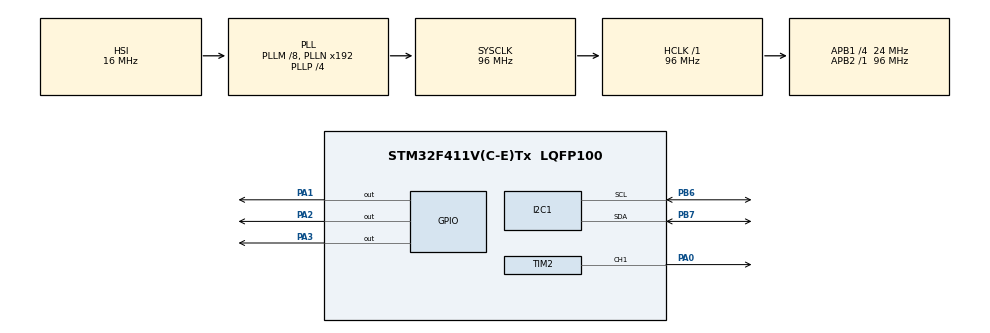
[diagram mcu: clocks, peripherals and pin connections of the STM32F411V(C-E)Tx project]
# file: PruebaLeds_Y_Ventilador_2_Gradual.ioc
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Mcu.Family=STM32F4
Mcu.Name=STM32F411V(C-E)Tx
Mcu.Package=LQFP100
NVIC.PriorityGroup=NVIC_PRIORITYGROUP_0
PA0-WKUP.Signal=S_TIM2_CH1_ETR
PA1.Signal=GPIO_Output
PA2.Signal=GPIO_Output
PA3.Signal=GPIO_Output
PB6.GPIO_Pu=GPIO_PULLUP
PB6.Mode=I2C
PB6.Signal=I2C1_SCL
PB7.GPIO_Pu=GPIO_PULLUP
PB7.Mode=I2C
PB7.Signal=I2C1_SDA
ProjectManager.HeapSize=0x200
ProjectManager.StackSize=0x400
ProjectManager.TargetToolchain=STM32CubeIDE
RCC.48MHZClocksFreq_Value=48000000
RCC.AHBFreq_Value=96000000
RCC.APB1CLKDivider=RCC_HCLK_DIV4
RCC.APB1Freq_Value=24000000
RCC.APB1TimFreq_Value=48000000
RCC.APB2Freq_Value=96000000
RCC.APB2TimFreq_Value=96000000
RCC.CortexFreq_Value=96000000
RCC.HCLKFreq_Value=96000000
RCC.HSE_VALUE=8000000
RCC.HSI_VALUE=16000000
RCC.LSE_VALUE=32768
RCC.PLLI2SM=5
RCC.PLLI2SN=200
RCC.PLLM=8
RCC.PLLP=RCC_PLLP_DIV4
RCC.PLLQ=8
RCC.SYSCLKFreq_VALUE=96000000
RCC.SYSCLKSource=RCC_SYSCLKSOURCE_PLLCLK
RCC.VCOOutputFreq_Value=384000000
SH.S_TIM2_CH1_ETR.0=TIM2_CH1,PWM Generation1 CH1
TIM2.Channel-PWM\ Generation1\ CH1=TIM_CHANNEL_1
TIM2.Period=1000
TIM2.Prescaler=79
board=STM32F411E-DISCO

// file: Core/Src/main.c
/* USER CODE BEGIN Header */
/**
  ******************************************************************************
  * @file           : main.c
  * @brief          : Main program body
  ******************************************************************************
  * @attention
  *
  * Copyright (c) 2025 STMicroelectronics.
  * All rights reserved.
  *
  * This software is licensed under terms that can be found in the LICENSE file
  * in the root directory of this software component.
  * If no LICENSE file comes with this software, it is provided AS-IS.
  *
  ******************************************************************************
  */
/* USER CODE END Header */
#include "main.h"

/* USER CODE BEGIN Includes */
#include <stdio.h>
#include <stdbool.h>
/* USER CODE END Includes */

/* USER CODE BEGIN PD */
// Dirección I2C del SHT85 (ver datasheet para confirmar)
#define SHT85_I2C_ADDR 0x44 << 1 // Cambia si usas otra configuración

// Comando para iniciar la medición
#define SHT85_CMD_MEASURE_HIGHREP 0x2400
/* USER CODE END PD */

I2C_HandleTypeDef hi2c1;

TIM_HandleTypeDef htim2;

/* USER CODE BEGIN PV */
// Variables globales para Live Expressions
float temperature = 0.0f;
float humidity = 0.0f;
uint16_t temp_raw = 0, hum_raw = 0;
bool alarm = true; // Estado de la alarma (TRUE: apagada, FALSE: activa)
float temperature_max = 19.7f;
// Variables para antirrebotes en control de alarma
uint32_t lastTimeAlarmUp = 0; // Tiempo desde que se incremento el counterTempAlarmUp
uint8_t counterTempAlarmUp = 0; // Contador de mediciones consecutivas cuando la temperatura se sale del rango
uint32_t lastTimeAlarmDown = 0; // Tiempo desde que se incremento el counterTempAlarmDown
uint8_t counterTempAlarmDown = 0; // Contador de mediciones consecutivas cuando la temperatura entra en rango de nuevo
uint8_t maxCounterTempAlarm = 5; // Máximo número de mediciones necesarias
//Variables para concurrencia entre lecturas sensor SHT85 y control de alarma
uint32_t lastTimeSHT = 0; // Tiempo de la última lectura del sensor
uint32_t lastTimeIncreasingLight = 0; // Tiempo desde que se incremento o decremento el duty en el led rojo
uint16_t duty = 1000; // Ciclo de trabajo del led rojo
bool increasingLight = true; // Control de dirección del ciclo de trabajo. TRUE incrementa luz. FALSE decrementa luz
// Calculo de temperaturas medias cada 1 segundo (5 muestras recogidas cada 200ms cada una)
float totalTemperature = 0.0f;
float averageTemperature = 0.0f;
uint8_t sampleCount = 0;

// Variables USUARIO
uint16_t samplingPeriod = 200; // tiempo de muestreo de temperaturas (en ms)
uint16_t averagePeriod = 5; // tiempo deseado para calcular las temperaturas medias (en segundos)
bool alarmWithActualTemp = true; // TRUE: alarma se detecta mas rapido (con temp actual). FALSE: alarma se detecta mas lento (con temp media, se espera a leer varios datos)

/* USER CODE END PV */

void SystemClock_Config(void);
static void MX_GPIO_Init(void);
static void MX_I2C1_Init(void);
static void MX_TIM2_Init(void);
/* USER CODE BEGIN PFP */
void ReadSHT85(float *temperature, float *humidity) {
    uint8_t cmd[2] = {SHT85_CMD_MEASURE_HIGHREP >> 8, SHT85_CMD_MEASURE_HIGHREP & 0xFF};
    uint8_t data[6];

    // Enviar el comando para iniciar la medición
    HAL_I2C_Master_Transmit(&hi2c1, SHT85_I2C_ADDR, cmd, 2, HAL_MAX_DELAY);

    // Esperar unos 10 ms para completar la medición
    HAL_Delay(20);

    // Leer los 6 bytes de datos
    HAL_I2C_Master_Receive(&hi2c1, SHT85_I2C_ADDR, data, 6, HAL_MAX_DELAY);

    // Convertir los datos recibidos
    temp_raw = (data[0] << 8) | data[1];
    hum_raw = (data[3] << 8) | data[4];

    // Calcular temperatura y humedad (según el datasheet del SHT85)
    *temperature = -45 + 175 * ((float)temp_raw / 65535);
    *humidity = 100 * ((float)hum_raw / 65535);
}

bool setAlarm(float temp){		// TRUE apagado. FALSE alarma encendida
	static bool alarmState = true; // Estado de la alarma (true: apagada, false: activa)
	uint32_t alarmPeriod = alarmWithActualTemp ? samplingPeriod : (averagePeriod * 1000);

	if(temp > temperature_max){
		counterTempAlarmDown = 0; // Si la temperatura se sale de rango, reiniciar el contador para cuando entra en el rango

		if(HAL_GetTick() - lastTimeAlarmUp >= alarmPeriod){//si se quiere controlar la alarma con la temperatura media
			lastTimeAlarmUp = HAL_GetTick(); // Se actualiza el tiempo de referencia
			if(temp <= temperature_max){ counterTempAlarmUp = 0; } //Si entra dentro de rango: "falsa" medicion
			else { counterTempAlarmUp++; }	// Lectura correcta: fuera de rango

			if (counterTempAlarmUp >= maxCounterTempAlarm) { //Se da por buena la lectura: FUERA DE RANGO VERIFICADO
				counterTempAlarmUp = maxCounterTempAlarm;
				alarmState = false; // Alarma activada (fuera de rango confirmado)
			}
			//else { alarmState = true; } // TRUE: aun no se ha confirmado que la temperatura este fuera de rango
		}
	}
	else {
		counterTempAlarmUp = 0; // Si la temperatura vuelve al rango normal, reiniciar el contador para cuando se sale de rango

		// Debouncer con 200 ms de separación
		//if(HAL_GetTick() - lastTimeAlarmDown >= samplingPeriod){//si se quiere controlar la alarma con la temperatura actual
		if(HAL_GetTick() - lastTimeAlarmDown >= alarmPeriod){//si se quiere controlar la alarma con la temperatura media
			lastTimeAlarmDown = HAL_GetTick(); // Se actualiza el tiempo de referencia
			if(temp > temperature_max){ counterTempAlarmDown = 0; } //Si sale fuera de rango: "falsa" medicion
			else { counterTempAlarmDown++; }	// Lectura correcta: dentro de rango

			if (counterTempAlarmDown >= maxCounterTempAlarm) { //Se da por buena la lectura: DENTRO DE RANGO VERIFICADO
				counterTempAlarmDown = maxCounterTempAlarm; // Limitar el contador
				alarmState = true; // TRUE: alarma se apaga
			}
			//else { alarmState = false; } // FALSE: aun no se ha confirmado que la temperatura este dentro de rango nuevamente
		}
	}

	return alarmState;
}

void calculatorAverageTemperature(float newTemperature) {
    totalTemperature += newTemperature;
    sampleCount++;

    if (sampleCount >= averagePeriod*1000/samplingPeriod) { // Se leen 25 muestras (durante 5 segundos)
        averageTemperature = totalTemperature / (averagePeriod*1000/samplingPeriod);
        totalTemperature = 0.0f; // Reinicia acumulador
        sampleCount = 0;
    }
}

/* USER CODE END PFP */

int main(void)
{

	/* MCU Configuration--------------------------------------------------------*/

	/* Reset of all peripherals, Initializes the Flash interface and the Systick. */
	HAL_Init();

	/* Configure the system clock */
	SystemClock_Config();

	/* Initialize all configured peripherals */
	MX_GPIO_Init();
	MX_I2C1_Init();
	MX_TIM2_Init();
	/* USER CODE BEGIN 2 */
	HAL_GPIO_WritePin(GPIOA, GPIO_PIN_3, GPIO_PIN_SET); // Apagar ventilador
	HAL_GPIO_WritePin(GPIOA, GPIO_PIN_1|GPIO_PIN_2, GPIO_PIN_SET); // Set Apaga los leds

	// Inicia el PWM en el canal 1 (PA0 - LED Rojo)
	HAL_TIM_PWM_Start(&htim2, TIM_CHANNEL_1);
	__HAL_TIM_SET_COMPARE(&htim2, TIM_CHANNEL_1, 1000); // Configura el ciclo de trabajo a 1000 (Rojo apagado)

	lastTimeSHT = HAL_GetTick();
	lastTimeIncreasingLight = HAL_GetTick();
	//duty = 1000;

    /* USER CODE END 2 */

    /* Infinite loop */
    while (1)
    {
    	if (HAL_GetTick() - lastTimeSHT >= samplingPeriod) { // Leer los sensores cada 200 ms (periodo de muestreo)
    			lastTimeSHT = HAL_GetTick(); // Se actualiza referencia
    	        ReadSHT85(&temperature, &humidity); // Leer sensores
    	        calculatorAverageTemperature(temperature);		// Se calculan temperaturas medias
    	        float temperatureToCheck = alarmWithActualTemp ? temperature : averageTemperature;
    	        //alarm = setAlarm(temperature);      // Verificar alarma. Si se quiere controlar la alarma con la temperatura actual. Se activa antes
    	        alarm = setAlarm(temperatureToCheck);      // Verificar alarma. Si se quiere controlar la alarma con la temperatura media. Se activa más tarde
    	}

    	if (!alarm) { // La alarma se activa pq se supera temperatura maxima
    		// Incrementa gradualmente la intensidad del led rojo del RGB
    		if (HAL_GetTick() - lastTimeIncreasingLight >= 20) {
				lastTimeIncreasingLight = HAL_GetTick();

				if (increasingLight) {
					duty -= 50; // Decrementar el ciclo de trabajo (lógica inversa)
					if (duty <= 0) {
						duty = 0;
						// Insertar bocina, aqui llega al pico maximo de luz
						increasingLight = false; // Cambiar dirección
					}
				} else {
					duty += 50; // Incrementar el ciclo de trabajo
					if (duty >= 1000) {
						duty = 1000;
						increasingLight = true; // Cambiar dirección
					}
				}

			  __HAL_TIM_SET_COMPARE(&htim2, TIM_CHANNEL_1, duty); // Ajusta el ciclo de trabajo
			}

			HAL_GPIO_WritePin(GPIOA, GPIO_PIN_3, GPIO_PIN_RESET); // Encender VENTILADOR
			HAL_GPIO_WritePin(GPIOA, GPIO_PIN_1, GPIO_PIN_SET); // AMARILLO (ROJO + VERDE)

    	}
    	else {
    		HAL_GPIO_WritePin(GPIOA, GPIO_PIN_3, GPIO_PIN_SET); // Apagar VENTILADOR
    		__HAL_TIM_SET_COMPARE(&htim2, TIM_CHANNEL_1, 0); // AMARILLO (ROJO + VERDE)
    		HAL_GPIO_WritePin(GPIOA, GPIO_PIN_1, GPIO_PIN_RESET); // AMARILLO (ROJO + VERDE)
    	}

    }
}

void SystemClock_Config(void)
{
  RCC_OscInitTypeDef RCC_OscInitStruct = {0};
  RCC_ClkInitTypeDef RCC_ClkInitStruct = {0};

  /** Configure the main internal regulator output voltage
  */
  __HAL_RCC_PWR_CLK_ENABLE();
  __HAL_PWR_VOLTAGESCALING_CONFIG(PWR_REGULATOR_VOLTAGE_SCALE1);

  /** Initializes the RCC Oscillators according to the specified parameters
  * in the RCC_OscInitTypeDef structure.
  */
  RCC_OscInitStruct.OscillatorType = RCC_OSCILLATORTYPE_HSI;
  RCC_OscInitStruct.HSIState = RCC_HSI_ON;
  RCC_OscInitStruct.HSICalibrationValue = RCC_HSICALIBRATION_DEFAULT;
  RCC_OscInitStruct.PLL.PLLState = RCC_PLL_ON;
  RCC_OscInitStruct.PLL.PLLSource = RCC_PLLSOURCE_HSI;
  RCC_OscInitStruct.PLL.PLLM = 8;
  RCC_OscInitStruct.PLL.PLLN = 192;
  RCC_OscInitStruct.PLL.PLLP = RCC_PLLP_DIV4;
  RCC_OscInitStruct.PLL.PLLQ = 8;
  if (HAL_RCC_OscConfig(&RCC_OscInitStruct) != HAL_OK)
  {
    Error_Handler();
  }

  /** Initializes the CPU, AHB and APB buses clocks
  */
  RCC_ClkInitStruct.ClockType = RCC_CLOCKTYPE_HCLK|RCC_CLOCKTYPE_SYSCLK
                              |RCC_CLOCKTYPE_PCLK1|RCC_CLOCKTYPE_PCLK2;
  RCC_ClkInitStruct.SYSCLKSource = RCC_SYSCLKSOURCE_PLLCLK;
  RCC_ClkInitStruct.AHBCLKDivider = RCC_SYSCLK_DIV1;
  RCC_ClkInitStruct.APB1CLKDivider = RCC_HCLK_DIV4;
  RCC_ClkInitStruct.APB2CLKDivider = RCC_HCLK_DIV1;

  if (HAL_RCC_ClockConfig(&RCC_ClkInitStruct, FLASH_LATENCY_3) != HAL_OK)
  {
    Error_Handler();
  }
}

static void MX_I2C1_Init(void)
{

  hi2c1.Instance = I2C1;
  hi2c1.Init.ClockSpeed = 100000;
  hi2c1.Init.DutyCycle = I2C_DUTYCYCLE_2;
  hi2c1.Init.OwnAddress1 = 0;
  hi2c1.Init.AddressingMode = I2C_ADDRESSINGMODE_7BIT;
  hi2c1.Init.DualAddressMode = I2C_DUALADDRESS_DISABLE;
  hi2c1.Init.OwnAddress2 = 0;
  hi2c1.Init.GeneralCallMode = I2C_GENERALCALL_DISABLE;
  hi2c1.Init.NoStretchMode = I2C_NOSTRETCH_DISABLE;
  if (HAL_I2C_Init(&hi2c1) != HAL_OK)
  {
    Error_Handler();
  }

}

static void MX_TIM2_Init(void)
{

  TIM_MasterConfigTypeDef sMasterConfig = {0};
  TIM_OC_InitTypeDef sConfigOC = {0};

  htim2.Instance = TIM2;
  htim2.Init.Prescaler = 79;
  htim2.Init.CounterMode = TIM_COUNTERMODE_UP;
  htim2.Init.Period = 1000;
  htim2.Init.ClockDivision = TIM_CLOCKDIVISION_DIV1;
  htim2.Init.AutoReloadPreload = TIM_AUTORELOAD_PRELOAD_DISABLE;
  if (HAL_TIM_PWM_Init(&htim2) != HAL_OK)
  {
    Error_Handler();
  }
  sMasterConfig.MasterOutputTrigger = TIM_TRGO_RESET;
  sMasterConfig.MasterSlaveMode = TIM_MASTERSLAVEMODE_DISABLE;
  if (HAL_TIMEx_MasterConfigSynchronization(&htim2, &sMasterConfig) != HAL_OK)
  {
    Error_Handler();
  }
  sConfigOC.OCMode = TIM_OCMODE_PWM1;
  sConfigOC.Pulse = 0;
  sConfigOC.OCPolarity = TIM_OCPOLARITY_HIGH;
  sConfigOC.OCFastMode = TIM_OCFAST_DISABLE;
  if (HAL_TIM_PWM_ConfigChannel(&htim2, &sConfigOC, TIM_CHANNEL_1) != HAL_OK)
  {
    Error_Handler();
  }
  HAL_TIM_MspPostInit(&htim2);

}

static void MX_GPIO_Init(void)
{
  GPIO_InitTypeDef GPIO_InitStruct = {0};

  /* GPIO Ports Clock Enable */
  __HAL_RCC_GPIOA_CLK_ENABLE();
  __HAL_RCC_GPIOB_CLK_ENABLE();

  /*Configure GPIO pin Output Level */
  HAL_GPIO_WritePin(GPIOA, GPIO_PIN_1|GPIO_PIN_2|GPIO_PIN_3, GPIO_PIN_RESET);

  /*Configure GPIO pins : PA1 PA2 PA3 */
  GPIO_InitStruct.Pin = GPIO_PIN_1|GPIO_PIN_2|GPIO_PIN_3;
  GPIO_InitStruct.Mode = GPIO_MODE_OUTPUT_PP;
  GPIO_InitStruct.Pull = GPIO_NOPULL;
  GPIO_InitStruct.Speed = GPIO_SPEED_FREQ_LOW;
  HAL_GPIO_Init(GPIOA, &GPIO_InitStruct);

}

void Error_Handler(void)
{
  __disable_irq();
  while (1)
  {
  }
}
